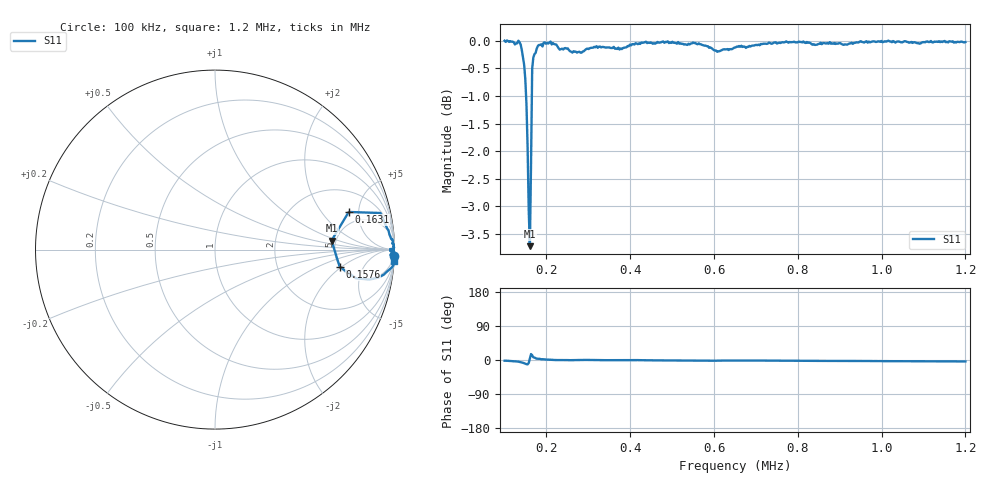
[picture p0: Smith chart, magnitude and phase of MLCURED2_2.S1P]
!Agilent Technologies,E5071C,MY46100265,A.07.02
!Date: Wed Mar 04 14:42:38 2020
!Data & Calibration Information:
!Freq	S11:SOLT1(ON)
# Hz S MA R 50
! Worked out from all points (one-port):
!   402 points, 100 kHz to 1.2 MHz, reference 50 ohm
!   lowest |S11| = -3.7 dB at 160.3 kHz (marker M1), VSWR 4.73, Z = 229 + j40 ohm
!   |S11| at or under -10 dB: nowhere
!   S11 on the Smith chart (normalised r, x): 100 kHz: -1, -61; 157.6 kHz: 4.97, -1.87; 163.1 kHz: 3.68, +3.85; 1.2 MHz: 1, -30
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100000  1 -1.9
127431  0.9946 -3.4
135661  0.9972 -5.0
141147  0.9808 -6.4
146633  0.9512 -8.4
149377  0.9235 -9.7
152120  0.8767 -11.0
154863  0.8018 -11.5
157606  0.7012 -7.8
160349  0.6512 4.4
163092  0.774 15.7
165835  0.9438 12.5
168579  0.966 7.1
171322  0.9726 6.3
174065  0.9754 5.0
182294  0.9917 3.0
193267  0.9961 1.7
223441  0.9924 -0.1
239900  0.9822 -0.2
377057  0.9843 -0.3
431920  0.9965 -0.5
514214  0.9976 -1.4
591022  0.9866 -2.1
651372  0.9864 -1.2
788529  0.9975 -2.1
925686  0.9947 -2.5
1062843  0.9977 -3.2
1200000  0.9975 -3.8
